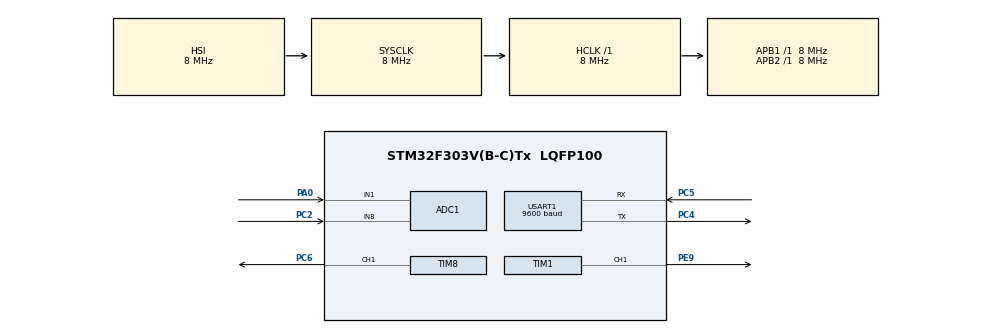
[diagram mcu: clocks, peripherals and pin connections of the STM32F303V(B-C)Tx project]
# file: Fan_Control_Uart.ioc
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ADC1.Channel-2\#ChannelRegularConversion=ADC_CHANNEL_8
ADC1.NbrOfConversionFlag=1
ADC1.Offset-2\#ChannelRegularConversion=0
ADC1.OffsetNumber-2\#ChannelRegularConversion=ADC_OFFSET_NONE
ADC1.Rank-2\#ChannelRegularConversion=1
ADC1.SamplingTime-2\#ChannelRegularConversion=ADC_SAMPLETIME_1CYCLE_5
ADC1.master=1
Mcu.Family=STM32F3
Mcu.Name=STM32F303V(B-C)Tx
Mcu.Package=LQFP100
NVIC.ADC1_2_IRQn=true\:0\:0\:false\:false\:true\:true\:true\:true
NVIC.PriorityGroup=NVIC_PRIORITYGROUP_4
NVIC.USART1_IRQn=true\:0\:0\:false\:false\:true\:true\:true\:true
PA0.Mode=IN1-Single-Ended
PA0.Signal=ADC1_IN1
PA13.Mode=Serial_Wire
PA13.Signal=SYS_JTMS-SWDIO
PA14.Mode=Serial_Wire
PA14.Signal=SYS_JTCK-SWCLK
PC2.Signal=ADCx_IN8
PC4.Mode=Asynchronous
PC4.Signal=USART1_TX
PC5.Mode=Asynchronous
PC5.Signal=USART1_RX
PC6.Signal=S_TIM8_CH1
PE9.Signal=S_TIM1_CH1
PF0-OSC_IN.Mode=HSE-External-Oscillator
PF0-OSC_IN.Signal=RCC_OSC_IN
PF1-OSC_OUT.Mode=HSE-External-Oscillator
PF1-OSC_OUT.Signal=RCC_OSC_OUT
ProjectManager.HeapSize=0x200
ProjectManager.StackSize=0x400
ProjectManager.TargetToolchain=STM32CubeIDE
RCC.AHBFreq_Value=8000000
RCC.APB1Freq_Value=8000000
RCC.APB2Freq_Value=8000000
RCC.CortexFreq_Value=8000000
RCC.DATA_CACHE_ENABLE=1
RCC.HSE_VALUE=8000000
RCC.HSI_VALUE=8000000
RCC.INSTRUCTION_CACHE_ENABLE=1
RCC.LSE_Drive_CapabilityArg=+LSE_Drive_Capability
RCC.LSE_VALUE=32768
RCC.MSIAutoCalibration=DISABLED
RCC.MSICalibrationValue=0
RCC.PWR_Regulator_Voltage_Scale=PWR_REGULATOR_VOLTAGE_SCALE1
RCC.SYSCLKFreq_VALUE=8000000
SH.ADCx_IN8.0=ADC1_IN8,IN8-Single-Ended
SH.S_TIM1_CH1.0=TIM1_CH1,PWM Generation1 CH1
SH.S_TIM8_CH1.0=TIM8_CH1,PWM Generation1 CH1
TIM1.Channel-PWM\ Generation1\ CH1=TIM_CHANNEL_1
TIM1.Prescaler=79
TIM8.Channel-PWM\ Generation1\ CH1=TIM_CHANNEL_1
TIM8.Period=49999
TIM8.Prescaler=79
USART1.BaudRate=9600
USART1.VirtualMode-Asynchronous=VM_ASYNC
VP_TIM1_VS_ClockSourceINT.Mode=Internal
VP_TIM8_VS_ClockSourceINT.Mode=Internal
board=custom

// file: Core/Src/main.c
/* USER CODE BEGIN Header */
/**
  ******************************************************************************
  * @file           : main.c
  * @brief          : Main program body
  ******************************************************************************
  * @attention
  *
  * Copyright (c) 2023 STMicroelectronics.
  * All rights reserved.
  *
  * This software is licensed under terms that can be found in the LICENSE file
  * in the root directory of this software component.
  * If no LICENSE file comes with this software, it is provided AS-IS.
  *
  ******************************************************************************
  */
/* USER CODE END Header */
#include "main.h"
#include "message_handle.h"
#include "flash.h"
#include "stdint.h"
#include "test_flash.h"

ADC_HandleTypeDef hadc1;

TIM_HandleTypeDef htim1;
TIM_HandleTypeDef htim8;

UART_HandleTypeDef huart1;

/* USER CODE BEGIN PV */

float volatile temperature = 0;
unsigned char receiveBuffer[5];
unsigned char sendBuffer[9];

/* USER CODE END PV */

void SystemClock_Config(void);
static void MX_GPIO_Init(void);
static void MX_TIM1_Init(void);
static void MX_ADC1_Init(void);
static void MX_USART1_UART_Init(void);
static void MX_TIM8_Init(void);

/* USER CODE BEGIN 0 */
void HAL_TIM_PeriodElapsedCallback(TIM_HandleTypeDef *htim)
{
  uint16_t rawValue;
  float temp;
  HAL_ADC_PollForConversion(&hadc1, HAL_MAX_DELAY);

  rawValue = HAL_ADC_GetValue(&hadc1);
  temp = ((float)rawValue) / 4095 * 3300;
  temperature = ((temp - 760.0) / 2.5) + 25;
  uint32_t* p_control_mode = (uint32_t*) ADDR_FLASH_PAGE_101;
  uint32_t* p_power = (uint32_t*) ADDR_FLASH_PAGE_102;
  if(temp < 0){
    temperature = 0;
  }

  if(*p_control_mode == AUTOMATIC && *p_power == ON){
    if(temperature < 20){
      modify_control_mode(LEVEL_2);
    }
    else if (temperature < 30){
      modify_control_mode(LEVEL_1);
    }
    else {
      modify_control_mode(LEVEL_0);
  }
 }
}

void HAL_UART_RxCpltCallback(UART_HandleTypeDef *huart)
{
  uint8_t length = handle_message(receiveBuffer, sendBuffer);
    if(length != 0){
      HAL_UART_Transmit_IT(&huart1, sendBuffer, length);
    }
}

/* USER CODE END 0 */

int main(void)
{

  /* MCU Configuration--------------------------------------------------------*/

  /* Reset of all peripherals, Initializes the Flash interface and the Systick. */
  HAL_Init();

  /* Configure the system clock */
  SystemClock_Config();

  /* Initialize all configured peripherals */
  MX_GPIO_Init();
  MX_TIM1_Init();
  MX_ADC1_Init();
  MX_USART1_UART_Init();
  MX_TIM8_Init();
  /* USER CODE BEGIN 2 */
  flash_erase();
  test_mutate();
  default_state();
  HAL_TIM_PWM_Start(&htim1, TIM_CHANNEL_1);
  HAL_TIM_Base_Start_IT(&htim8);
  restart_before_state();

  /* USER CODE END 2 */

  /* Infinite loop */
  while (1)
  {
    HAL_UART_Receive(&huart1, receiveBuffer, 2, HAL_MAX_DELAY);
	  if(*(receiveBuffer+1) == 0x04){
		  HAL_UART_Receive(&huart1, receiveBuffer+2, 2, HAL_MAX_DELAY);
	  }
	  else{
		  HAL_UART_Receive(&huart1, receiveBuffer+2, 3, HAL_MAX_DELAY);
	  }
	  uint8_t status = handle_message(receiveBuffer, sendBuffer);
	  if(status != 0){
		  HAL_UART_Transmit(&huart1, sendBuffer, status, HAL_MAX_DELAY);
	  }

  }
}

void SystemClock_Config(void)
{
  RCC_OscInitTypeDef RCC_OscInitStruct = {0};
  RCC_ClkInitTypeDef RCC_ClkInitStruct = {0};
  RCC_PeriphCLKInitTypeDef PeriphClkInit = {0};

  /** Initializes the RCC Oscillators according to the specified parameters
  * in the RCC_OscInitTypeDef structure.
  */
  RCC_OscInitStruct.OscillatorType = RCC_OSCILLATORTYPE_HSI;
  RCC_OscInitStruct.HSIState = RCC_HSI_ON;
  RCC_OscInitStruct.HSICalibrationValue = RCC_HSICALIBRATION_DEFAULT;
  RCC_OscInitStruct.PLL.PLLState = RCC_PLL_ON;
  RCC_OscInitStruct.PLL.PLLSource = RCC_PLLSOURCE_HSI;
  RCC_OscInitStruct.PLL.PLLMUL = RCC_PLL_MUL2;
  if (HAL_RCC_OscConfig(&RCC_OscInitStruct) != HAL_OK)
  {
    Error_Handler();
  }

  /** Initializes the CPU, AHB and APB buses clocks
  */
  RCC_ClkInitStruct.ClockType = RCC_CLOCKTYPE_HCLK|RCC_CLOCKTYPE_SYSCLK
                              |RCC_CLOCKTYPE_PCLK1|RCC_CLOCKTYPE_PCLK2;
  RCC_ClkInitStruct.SYSCLKSource = RCC_SYSCLKSOURCE_HSI;
  RCC_ClkInitStruct.AHBCLKDivider = RCC_SYSCLK_DIV1;
  RCC_ClkInitStruct.APB1CLKDivider = RCC_HCLK_DIV1;
  RCC_ClkInitStruct.APB2CLKDivider = RCC_HCLK_DIV1;

  if (HAL_RCC_ClockConfig(&RCC_ClkInitStruct, FLASH_LATENCY_0) != HAL_OK)
  {
    Error_Handler();
  }
  PeriphClkInit.PeriphClockSelection = RCC_PERIPHCLK_USART1|RCC_PERIPHCLK_TIM1
                              |RCC_PERIPHCLK_TIM8|RCC_PERIPHCLK_ADC12;
  PeriphClkInit.Usart1ClockSelection = RCC_USART1CLKSOURCE_PCLK2;
  PeriphClkInit.Adc12ClockSelection = RCC_ADC12PLLCLK_DIV1;
  PeriphClkInit.Tim1ClockSelection = RCC_TIM1CLK_HCLK;
  PeriphClkInit.Tim8ClockSelection = RCC_TIM8CLK_HCLK;
  if (HAL_RCCEx_PeriphCLKConfig(&PeriphClkInit) != HAL_OK)
  {
    Error_Handler();
  }
}

static void MX_ADC1_Init(void)
{

  ADC_MultiModeTypeDef multimode = {0};
  ADC_ChannelConfTypeDef sConfig = {0};

  /** Common config
  */
  hadc1.Instance = ADC1;
  hadc1.Init.ClockPrescaler = ADC_CLOCK_ASYNC_DIV1;
  hadc1.Init.Resolution = ADC_RESOLUTION_12B;
  hadc1.Init.ScanConvMode = ADC_SCAN_DISABLE;
  hadc1.Init.ContinuousConvMode = DISABLE;
  hadc1.Init.DiscontinuousConvMode = DISABLE;
  hadc1.Init.ExternalTrigConvEdge = ADC_EXTERNALTRIGCONVEDGE_NONE;
  hadc1.Init.ExternalTrigConv = ADC_SOFTWARE_START;
  hadc1.Init.DataAlign = ADC_DATAALIGN_RIGHT;
  hadc1.Init.NbrOfConversion = 1;
  hadc1.Init.DMAContinuousRequests = DISABLE;
  hadc1.Init.EOCSelection = ADC_EOC_SINGLE_CONV;
  hadc1.Init.LowPowerAutoWait = DISABLE;
  hadc1.Init.Overrun = ADC_OVR_DATA_OVERWRITTEN;
  if (HAL_ADC_Init(&hadc1) != HAL_OK)
  {
    Error_Handler();
  }

  /** Configure the ADC multi-mode
  */
  multimode.Mode = ADC_MODE_INDEPENDENT;
  if (HAL_ADCEx_MultiModeConfigChannel(&hadc1, &multimode) != HAL_OK)
  {
    Error_Handler();
  }

  /** Configure Regular Channel
  */
  sConfig.Channel = ADC_CHANNEL_8;
  sConfig.Rank = ADC_REGULAR_RANK_1;
  sConfig.SingleDiff = ADC_SINGLE_ENDED;
  sConfig.SamplingTime = ADC_SAMPLETIME_1CYCLE_5;
  sConfig.OffsetNumber = ADC_OFFSET_NONE;
  sConfig.Offset = 0;
  if (HAL_ADC_ConfigChannel(&hadc1, &sConfig) != HAL_OK)
  {
    Error_Handler();
  }

}

static void MX_TIM1_Init(void)
{

  TIM_ClockConfigTypeDef sClockSourceConfig = {0};
  TIM_MasterConfigTypeDef sMasterConfig = {0};
  TIM_OC_InitTypeDef sConfigOC = {0};
  TIM_BreakDeadTimeConfigTypeDef sBreakDeadTimeConfig = {0};

  htim1.Instance = TIM1;
  htim1.Init.Prescaler = 79;
  htim1.Init.CounterMode = TIM_COUNTERMODE_UP;
  htim1.Init.Period = 65535;
  htim1.Init.ClockDivision = TIM_CLOCKDIVISION_DIV1;
  htim1.Init.RepetitionCounter = 0;
  htim1.Init.AutoReloadPreload = TIM_AUTORELOAD_PRELOAD_DISABLE;
  if (HAL_TIM_Base_Init(&htim1) != HAL_OK)
  {
    Error_Handler();
  }
  sClockSourceConfig.ClockSource = TIM_CLOCKSOURCE_INTERNAL;
  if (HAL_TIM_ConfigClockSource(&htim1, &sClockSourceConfig) != HAL_OK)
  {
    Error_Handler();
  }
  if (HAL_TIM_PWM_Init(&htim1) != HAL_OK)
  {
    Error_Handler();
  }
  sMasterConfig.MasterOutputTrigger = TIM_TRGO_RESET;
  sMasterConfig.MasterOutputTrigger2 = TIM_TRGO2_RESET;
  sMasterConfig.MasterSlaveMode = TIM_MASTERSLAVEMODE_DISABLE;
  if (HAL_TIMEx_MasterConfigSynchronization(&htim1, &sMasterConfig) != HAL_OK)
  {
    Error_Handler();
  }
  sConfigOC.OCMode = TIM_OCMODE_PWM1;
  sConfigOC.Pulse = 0;
  sConfigOC.OCPolarity = TIM_OCPOLARITY_HIGH;
  sConfigOC.OCNPolarity = TIM_OCNPOLARITY_HIGH;
  sConfigOC.OCFastMode = TIM_OCFAST_DISABLE;
  sConfigOC.OCIdleState = TIM_OCIDLESTATE_RESET;
  sConfigOC.OCNIdleState = TIM_OCNIDLESTATE_RESET;
  if (HAL_TIM_PWM_ConfigChannel(&htim1, &sConfigOC, TIM_CHANNEL_1) != HAL_OK)
  {
    Error_Handler();
  }
  sBreakDeadTimeConfig.OffStateRunMode = TIM_OSSR_DISABLE;
  sBreakDeadTimeConfig.OffStateIDLEMode = TIM_OSSI_DISABLE;
  sBreakDeadTimeConfig.LockLevel = TIM_LOCKLEVEL_OFF;
  sBreakDeadTimeConfig.DeadTime = 0;
  sBreakDeadTimeConfig.BreakState = TIM_BREAK_DISABLE;
  sBreakDeadTimeConfig.BreakPolarity = TIM_BREAKPOLARITY_HIGH;
  sBreakDeadTimeConfig.BreakFilter = 0;
  sBreakDeadTimeConfig.Break2State = TIM_BREAK2_DISABLE;
  sBreakDeadTimeConfig.Break2Polarity = TIM_BREAK2POLARITY_HIGH;
  sBreakDeadTimeConfig.Break2Filter = 0;
  sBreakDeadTimeConfig.AutomaticOutput = TIM_AUTOMATICOUTPUT_DISABLE;
  if (HAL_TIMEx_ConfigBreakDeadTime(&htim1, &sBreakDeadTimeConfig) != HAL_OK)
  {
    Error_Handler();
  }
  HAL_TIM_MspPostInit(&htim1);

}

static void MX_TIM8_Init(void)
{

  TIM_ClockConfigTypeDef sClockSourceConfig = {0};
  TIM_MasterConfigTypeDef sMasterConfig = {0};
  TIM_OC_InitTypeDef sConfigOC = {0};
  TIM_BreakDeadTimeConfigTypeDef sBreakDeadTimeConfig = {0};

  htim8.Instance = TIM8;
  htim8.Init.Prescaler = 79;
  htim8.Init.CounterMode = TIM_COUNTERMODE_UP;
  htim8.Init.Period = 49999;
  htim8.Init.ClockDivision = TIM_CLOCKDIVISION_DIV1;
  htim8.Init.RepetitionCounter = 0;
  htim8.Init.AutoReloadPreload = TIM_AUTORELOAD_PRELOAD_DISABLE;
  if (HAL_TIM_Base_Init(&htim8) != HAL_OK)
  {
    Error_Handler();
  }
  sClockSourceConfig.ClockSource = TIM_CLOCKSOURCE_INTERNAL;
  if (HAL_TIM_ConfigClockSource(&htim8, &sClockSourceConfig) != HAL_OK)
  {
    Error_Handler();
  }
  if (HAL_TIM_PWM_Init(&htim8) != HAL_OK)
  {
    Error_Handler();
  }
  sMasterConfig.MasterOutputTrigger = TIM_TRGO_RESET;
  sMasterConfig.MasterOutputTrigger2 = TIM_TRGO2_RESET;
  sMasterConfig.MasterSlaveMode = TIM_MASTERSLAVEMODE_DISABLE;
  if (HAL_TIMEx_MasterConfigSynchronization(&htim8, &sMasterConfig) != HAL_OK)
  {
    Error_Handler();
  }
  sConfigOC.OCMode = TIM_OCMODE_PWM1;
  sConfigOC.Pulse = 0;
  sConfigOC.OCPolarity = TIM_OCPOLARITY_HIGH;
  sConfigOC.OCNPolarity = TIM_OCNPOLARITY_HIGH;
  sConfigOC.OCFastMode = TIM_OCFAST_DISABLE;
  sConfigOC.OCIdleState = TIM_OCIDLESTATE_RESET;
  sConfigOC.OCNIdleState = TIM_OCNIDLESTATE_RESET;
  if (HAL_TIM_PWM_ConfigChannel(&htim8, &sConfigOC, TIM_CHANNEL_1) != HAL_OK)
  {
    Error_Handler();
  }
  sBreakDeadTimeConfig.OffStateRunMode = TIM_OSSR_DISABLE;
  sBreakDeadTimeConfig.OffStateIDLEMode = TIM_OSSI_DISABLE;
  sBreakDeadTimeConfig.LockLevel = TIM_LOCKLEVEL_OFF;
  sBreakDeadTimeConfig.DeadTime = 0;
  sBreakDeadTimeConfig.BreakState = TIM_BREAK_DISABLE;
  sBreakDeadTimeConfig.BreakPolarity = TIM_BREAKPOLARITY_HIGH;
  sBreakDeadTimeConfig.BreakFilter = 0;
  sBreakDeadTimeConfig.Break2State = TIM_BREAK2_DISABLE;
  sBreakDeadTimeConfig.Break2Polarity = TIM_BREAK2POLARITY_HIGH;
  sBreakDeadTimeConfig.Break2Filter = 0;
  sBreakDeadTimeConfig.AutomaticOutput = TIM_AUTOMATICOUTPUT_DISABLE;
  if (HAL_TIMEx_ConfigBreakDeadTime(&htim8, &sBreakDeadTimeConfig) != HAL_OK)
  {
    Error_Handler();
  }
  HAL_TIM_MspPostInit(&htim8);

}

static void MX_USART1_UART_Init(void)
{

  huart1.Instance = USART1;
  huart1.Init.BaudRate = 9600;
  huart1.Init.WordLength = UART_WORDLENGTH_8B;
  huart1.Init.StopBits = UART_STOPBITS_1;
  huart1.Init.Parity = UART_PARITY_NONE;
  huart1.Init.Mode = UART_MODE_TX_RX;
  huart1.Init.HwFlowCtl = UART_HWCONTROL_NONE;
  huart1.Init.OverSampling = UART_OVERSAMPLING_16;
  huart1.Init.OneBitSampling = UART_ONE_BIT_SAMPLE_DISABLE;
  huart1.AdvancedInit.AdvFeatureInit = UART_ADVFEATURE_NO_INIT;
  if (HAL_UART_Init(&huart1) != HAL_OK)
  {
    Error_Handler();
  }

}

static void MX_GPIO_Init(void)
{

  /* GPIO Ports Clock Enable */
  __HAL_RCC_GPIOF_CLK_ENABLE();
  __HAL_RCC_GPIOC_CLK_ENABLE();
  __HAL_RCC_GPIOA_CLK_ENABLE();
  __HAL_RCC_GPIOE_CLK_ENABLE();

}

void Error_Handler(void)
{
  __disable_irq();
  while (1)
  {
  }
}
